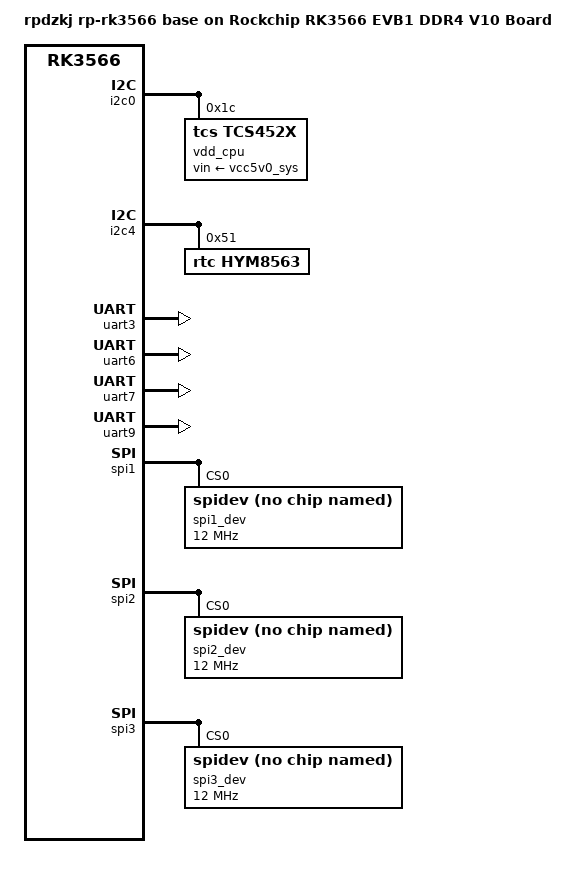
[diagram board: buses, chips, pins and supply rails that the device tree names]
// SPDX-License-Identifier: (GPL-2.0+ OR MIT)
/*
 * Copyright (c) 2020 Rockchip Electronics Co., Ltd.
 */

//rk3566-evb1-ddr4-v10
#include "rk3566-evb1-ddr4-v10.dtsi"
#include "rk3568-linux.dtsi"
#include "rp-mipi-camera-gc2093-rk3566.dtsi"

/****************** SINGLE LCD ***************/
#include "rp-rk3566-single-lcd-gpio.dtsi"
/* HDMI */
//#include "rp-lcd-hdmi.dtsi"

/* MIPI DSI0 */
//#include "rp-lcd-mipi0-5-720-1280.dtsi"
//#include "rp-lcd-mipi0-5.5-1080-1920.dtsi"
//#include "rp-lcd-mipi0-5.5-720-1280.dtsi"
//#include "rp-lcd-mipi0-5.5-720-1280-v2.dtsi"
#include "rp-lcd-mipi0-7-1024-600.dtsi"
//#include "rp-lcd-mipi0-7-1200-1920.dtsi"
//#include "rp-lcd-mipi0-8-800-1280.dtsi"
//#include "rp-lcd-mipi0-8-800-1280-v2.dtsi"
//#include "rp-lcd-mipi0-8-800-1280-v3.dtsi"
//#include "rp-lcd-mipi0-8-1200-1920.dtsi"
//#include "rp-lcd-mipi0-10-800-1280.dtsi"
//#include "rp-lcd-mipi0-10-800-1280-v2.dtsi"
//#include "rp-lcd-mipi0-10-1920-1200.dtsi"

/* LVDS */
//#include "rp-lcd-lvds-10-1024-600.dtsi"

/* EDP */
//#include "rp-lcd-edp-13-1920-1080.dtsi"
//#include "rp-lcd-edp-13.3-15.6-1920-1080.dtsi"




/ {
	model = "rpdzkj rp-rk3566 base on Rockchip RK3566 EVB1 DDR4 V10 Board";
	compatible = "rpdzkj,rp-rk3566", "rockchip,rk3566";


        
        rp_power{
                status = "okay";
                compatible = "rp_power";
                rp_not_deep_sleep = <1>;

//#define GPIO_FUNCTION_OUTPUT 0
//#define GPIO_FUNCTION_INPUT 1
//#define GPIO_FUNCTION_IRQ 2
//#define GPIO_FUNCTION_FLASH 3
//#define GPIO_FUNCTION_OUTPUT_CTRL 4

/******* SYSTEM POWER **********/
                pwer_5v_3v3 {	//vdd 3.3v 5v enable
                        gpio_num = <&gpio2 RK_PB3 GPIO_ACTIVE_HIGH>;
                        gpio_function = <0>;
                };
                led {       //system led
                        gpio_num = <&gpio3 RK_PC2 GPIO_ACTIVE_HIGH>;
                        gpio_function = <4>;
                };
                
                usb_pwr {	//usb host and otg power
                        gpio_num = <&gpio0 RK_PA6 GPIO_ACTIVE_HIGH>;
                        gpio_function = <4>;
                };
                hub_rst {       //usb hub reset
                        gpio_num = <&gpio0 RK_PB0 GPIO_ACTIVE_HIGH>;
                        gpio_function = <4>;
                };

                spk_en {       //SPK ENABLE
                        gpio_num = <&gpio4 RK_PC4 GPIO_ACTIVE_HIGH>;
                        gpio_function = <4>;
                };

                spk_mute {       //SPK MUTE, hish active, nomal low
                        gpio_num = <&gpio0 RK_PA0 GPIO_ACTIVE_LOW>;
                        gpio_function = <4>;
                };
                otg_mode {       //OTG SWITCH, high is mean otg_id to 0, foece host mode
                        gpio_num = <&gpio0 RK_PC2 GPIO_ACTIVE_LOW>;
                        gpio_function = <0>;
                };
                
                fan {       //fan en
                        gpio_num = <&gpio2 RK_PB4 GPIO_ACTIVE_HIGH>;
                        gpio_function = <4>;
                };
				};


        rp_gpio{
                status = "okay";
                compatible = "rp_gpio";



/***** gpio ********/

                gpio4a0 {
                        gpio_num = <&gpio4 RK_PA0 GPIO_ACTIVE_HIGH>;
                        gpio_function = <0>;
                };

                gpio4a1 {
                        gpio_num = <&gpio4 RK_PA1 GPIO_ACTIVE_HIGH>;
                        gpio_function = <0>;
                };
                gpio4a2 {
                        gpio_num = <&gpio4 RK_PA2 GPIO_ACTIVE_HIGH>;
                        gpio_function = <0>;
                };
                gpio4a3 {
                        gpio_num = <&gpio4 RK_PA3 GPIO_ACTIVE_HIGH>;
                        gpio_function = <0>;
                };               
                gpio1b2 {
                        gpio_num = <&gpio1 RK_PB2 GPIO_ACTIVE_HIGH>;
                        gpio_function = <0>;
                };
                gpio3c1 {
                        gpio_num = <&gpio3 RK_PC1 GPIO_ACTIVE_HIGH>;
                        gpio_function = <0>;
                };
                gpio1b0 {
                        gpio_num = <&gpio1 RK_PB0 GPIO_ACTIVE_HIGH>;
                        gpio_function = <0>;
                };
                gpio0c4 {
                        gpio_num = <&gpio0 RK_PC4 GPIO_ACTIVE_HIGH>;
                        gpio_function = <0>;
                };                
                gpio1a4 {
                        gpio_num = <&gpio1 RK_PA4 GPIO_ACTIVE_HIGH>;
                        gpio_function = <0>;
                };                
                gpio0c5 {
                        gpio_num = <&gpio0 RK_PC5 GPIO_ACTIVE_HIGH>;
                        gpio_function = <0>;
                };
                gpio2b4 {
                        gpio_num = <&gpio2 RK_PB4 GPIO_ACTIVE_HIGH>;
                        gpio_function = <0>;
                };              
	};
};


&pmu_io_domains {
        status = "okay";
        pmuio2-supply = <&vcc3v3_pmu>;
        vccio1-supply = <&vccio_acodec>;
        vccio3-supply = <&vccio_sd>;
        vccio4-supply = <&vcc_3v3>;
        vccio5-supply = <&vcc_3v3>;
        vccio6-supply = <&vcc_1v8>;
        vccio7-supply = <&vcc_3v3>;
};

&i2c5 {
    status = "disabled";
};

&i2c0 {
        status = "okay";
        vdd_cpu: tcs4525@1c {
                compatible = "tcs,tcs452x";
                reg = <0x1c>;
                vin-supply = <&vcc5v0_sys>;
                regulator-compatible = "fan53555-reg";
                regulator-name = "vdd_cpu";
                regulator-min-microvolt = <712500>;
                regulator-max-microvolt = <1390000>;
                regulator-ramp-delay = <2300>;
                fcs,suspend-voltage-selector = <1>;
                regulator-boot-on;
                regulator-always-on;
                regulator-state-mem {
                        regulator-off-in-suspend;
                };
        };
};

&gmac1 {
    tx_delay = <0x3a>;
    rx_delay = <0x2a>;
};

&i2c4 {
	status = "okay";
	pinctrl-names = "default";
	pinctrl-0 = <&i2c4m1_xfer>;

        rtc@51 {
                status = "okay";
                compatible = "rtc,hym8563";
                reg = <0x51>;
        };
};

&uart3 {
	status = "okay";
	pinctrl-names = "default";
	pinctrl-0 = <&uart3m0_xfer>;
};

&uart6 {
        status = "okay";
        pinctrl-names = "default";
        pinctrl-0 = <&uart6m0_xfer>;
};

&uart7 {
        status = "okay";
        pinctrl-names = "default";
        pinctrl-0 = <&uart7m0_xfer>;
};

&uart9 {
        status = "okay";
        pinctrl-names = "default";
        pinctrl-0 = <&uart9m0_xfer>;
};

&spi1 {
        status = "okay";
        /* rewrite pinctrl, for cs1 used to be gpio */
		pinctrl-0 = <&spi1m0_cs0 &spi1m0_pins>;
		pinctrl-1 = <&spi1m0_cs0 &spi1m0_pins_hs>;
		    spi1_dev@0 {
        compatible = "rockchip,spidev";
        reg = <0>;
        spi-max-frequency = <12000000>;
        spi-lsb-first;
    };

};

&spi2 {
        status = "okay";
        /* rewrite pinctrl, for cs1 used to be gpio */
		pinctrl-0 = <&spi2m0_cs0 &spi2m0_pins>;
		pinctrl-1 = <&spi2m0_cs0 &spi2m0_pins_hs>;
		    spi2_dev@0 {
        compatible = "rockchip,spidev";
        reg = <0>;
        spi-max-frequency = <12000000>;
        spi-lsb-first;
    };


};

&spi3 {
	status = "okay";
    spi3_dev@0 {
        compatible = "rockchip,spidev";
        reg = <0>;
        spi-max-frequency = <12000000>;
        spi-lsb-first;
    };

};

/****** rp3566 camera configuration adjustment ******/
&spi3 {
    /* rewrite pinctrl for cs1 used to be camera clk */
		pinctrl-0 = <&spi3m0_cs0 &spi3m0_pins>;
		pinctrl-1 = <&spi3m0_cs0 &spi3m0_pins_hs>;
};
/***************************************************/

&dmc {
    status = "disabled";
};

&dfi {
	status = "disabled";
};


